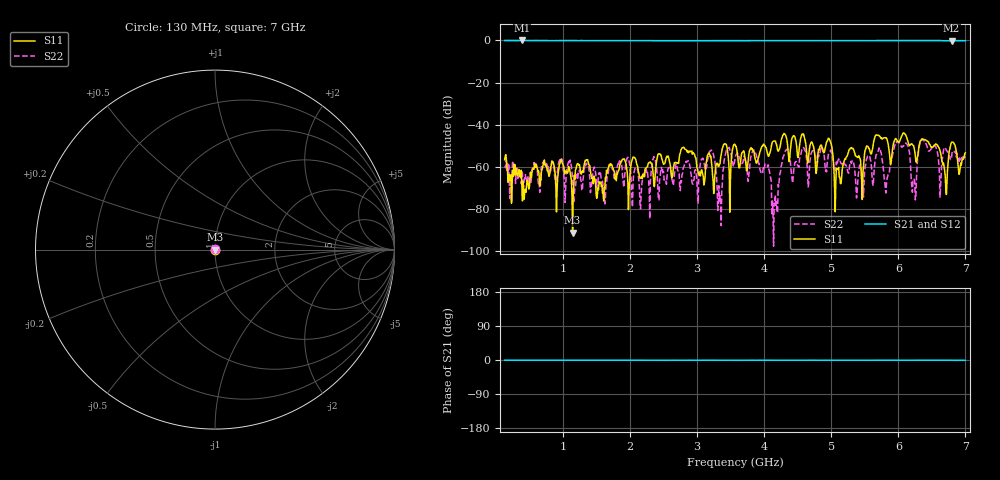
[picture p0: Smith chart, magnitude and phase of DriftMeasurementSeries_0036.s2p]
# Hz S RI R 50.000000
! Metas.Vna.Tools, 2.8.8664.20301
! Metas.Vna.Data, 2.8.8664.20285
! Created: UTC 2024.02.11 10:08:17
! FREQ  re:S1,1  im:S1,1  re:S2,1  im:S2,1  re:S1,2  im:S1,2  re:S2,2  im:S2,2
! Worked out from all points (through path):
!   801 points, 130 MHz to 7 GHz, reference 50 ohm
!   highest |S21| = -0.02 dB at 387.6 MHz (marker M1); lowest = -0.2 dB at 6.794 GHz (marker M2)
!   lowest |S11| = -91.1 dB at 1.143 GHz (marker M3), VSWR 1.00, Z = 50 + j0.00238 ohm
!   |S11| at or under -10 dB: start of sweep to end of sweep
!   |S22| runs from -97.5 to -46.8 dB; largest |S21 - S12| = 0.021
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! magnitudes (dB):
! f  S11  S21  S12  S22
! 130 MHz  -56.6  -0.1  0.0  -59.9
! 387.6 MHz  -69.0  0.0  0.0  -61.8
! 1.143 GHz  -91.1  -0.1  0.0  -65.3
! 1.281 GHz  -62.6  -0.1  0.0  -70.8
! 2.423 GHz  -53.8  -0.1  0.0  -75.6
! 3.213 GHz  -57.3  -0.1  0.0  -52.0
! 3.333 GHz  -58.8  -0.1  0.0  -76.0
! 3.445 GHz  -50.6  -0.1  0.0  -51.9
! 3.565 GHz  -49.3  -0.1  0.0  -56.1
! 4.046 GHz  -53.0  -0.1  0.0  -59.2
! 4.166 GHz  -47.7  -0.1  0.0  -73.3
! 4.312 GHz  -44.6  -0.1  0.0  -52.6
! 4.716 GHz  -48.5  -0.1  0.0  -52.4
! 4.973 GHz  -46.9  -0.1  0.0  -52.9
! 5.085 GHz  -61.3  -0.1  0.0  -59.1
! 5.858 GHz  -51.1  -0.1  0.0  -63.4
! 5.978 GHz  -47.3  -0.1  0.0  -48.5
! 6.227 GHz  -49.9  -0.1  0.0  -66.8
! 6.347 GHz  -46.9  -0.1  0.0  -46.8
! 6.699 GHz  -64.0  -0.2  0.0  -50.8
! 6.794 GHz  -48.2  -0.2  0.0  -55.6
! 7 GHz  -53.3  -0.2  0.0  -55.6
